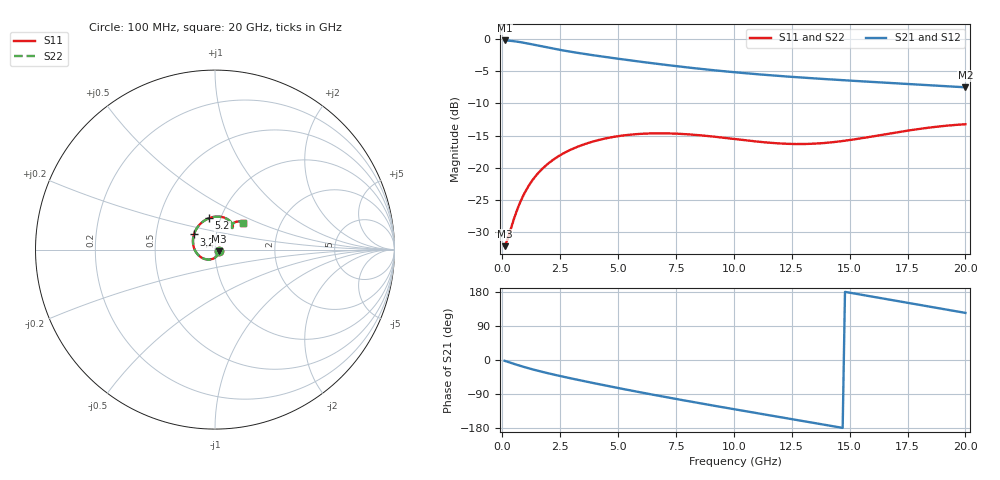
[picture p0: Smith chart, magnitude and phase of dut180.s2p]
! Created with skrf 1.9.0 (http://scikit-rf.org).
# GHz S RI R 50.0
!freq ReS11 ImS11 ReS21 ImS21 ReS12 ImS12 ReS22 ImS22
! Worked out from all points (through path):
!   200 points, 100 MHz to 20 GHz, reference 50 ohm
!   highest |S21| = -0.21 dB at 100 MHz (marker M1); lowest = -7.5 dB at 20 GHz (marker M2)
!   group delay of S21, straight-line fit = 31.1 ps
!   lowest |S11| = -32.2 dB at 100 MHz (marker M3), VSWR 1.05, Z = 52.4 - j0.903 ohm
!   |S11| at or under -10 dB: start of sweep to end of sweep
!   |S22| runs from -32.2 to -13.2 dB; largest |S21 - S12| = 1.7e-15
!   S11 on the Smith chart (normalised r, x): 100 MHz: 1.05, -0.02; 3.2 GHz: 0.78, +0.13; 5.2 GHz: 0.88, +0.32; 20 GHz: 1.30, +0.41
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0.1  0.0231 -0.00862  0.975 -0.0352  0.975 -0.0352  0.0231 -0.00862
0.2  0.021 -0.0172  0.9714 -0.07  0.9714 -0.07  0.021 -0.0172
0.4  0.0126 -0.0328  0.9576 -0.1374  0.9576 -0.1374  0.0126 -0.0328
0.6  -0.000482 -0.045  0.9364 -0.2006  0.9364 -0.2006  -0.000482 -0.045
0.8  -0.0169 -0.0528  0.9093 -0.2584  0.9093 -0.2584  -0.0169 -0.0528
1  -0.035 -0.0555  0.878 -0.3105  0.878 -0.3105  -0.035 -0.0555
1.3  -0.0619 -0.0507  0.8262 -0.3781  0.8262 -0.3781  -0.0619 -0.0507
1.7  -0.0921 -0.0311  0.7535 -0.4509  0.7535 -0.4509  -0.0921 -0.0311
2.1  -0.1122 -0.00244  0.6806 -0.5084  0.6806 -0.5084  -0.1122 -0.00244
3.2  -0.1172 0.0846  0.4877 -0.6142  0.4877 -0.6142  -0.1172 0.0846
3.5  -0.1091 0.1052  0.4369 -0.633  0.4369 -0.633  -0.1091 0.1052
4.3  -0.0767 0.1481  0.3051 -0.666  0.3051 -0.666  -0.0767 0.1481
5.2  -0.0322 0.1753  0.1648 -0.6759  0.1648 -0.6759  -0.0322 0.1753
6.8  0.0391 0.1813  -0.0546 -0.6363  -0.0546 -0.6363  0.0391 0.1813
8.4  0.0825 0.1599  -0.2275 -0.5458  -0.2275 -0.5458  0.0825 0.1599
10.1  0.099 0.1344  -0.3602 -0.4172  -0.3602 -0.4172  0.099 0.1344
11.7  0.0977 0.1215  -0.4404 -0.2793  -0.4404 -0.2793  0.0977 0.1215
13.4  0.0923 0.1231  -0.4802 -0.1246  -0.4802 -0.1246  0.0923 0.1231
15  0.0935 0.1351  -0.4756 0.0193  -0.4756 0.0193  0.0935 0.1351
16.7  0.1071 0.1501  -0.428 0.1592  -0.428 0.1592  0.1071 0.1501
18.4  0.1317 0.157  -0.3428 0.2734  -0.3428 0.2734  0.1317 0.157
20  0.1585 0.1498  -0.2378 0.3488  -0.2378 0.3488  0.1585 0.1498
